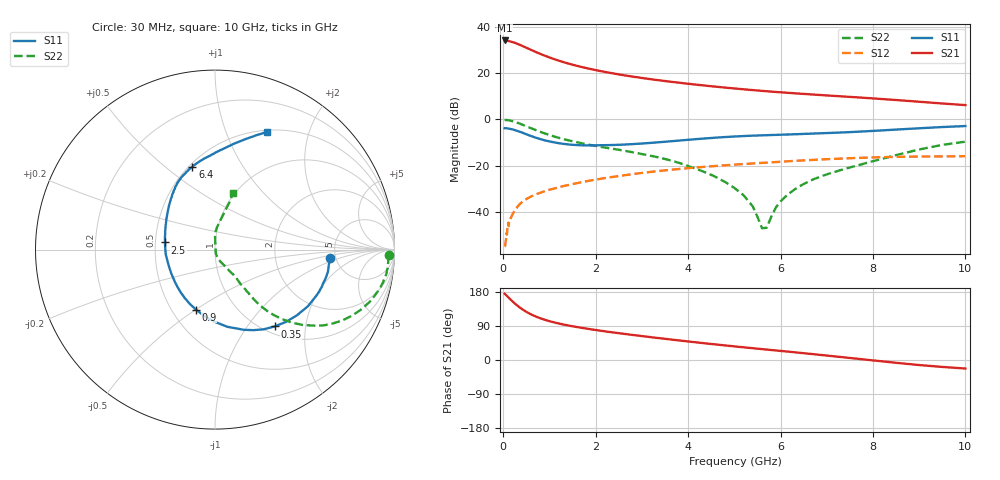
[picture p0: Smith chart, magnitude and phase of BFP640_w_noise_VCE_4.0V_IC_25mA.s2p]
! (c) 2013  Infineon Technologies AG, Munich
! Infineon Technologies  Discrete & RF Semiconductors
! BFP640
! VCE =  4.0 V,  IC =  25 mA
! Common Emitter S-Parameters:  Apr 2013
# GHz  S  MA  R  50
!  f  S11  S21  S12  S22
! GHz  MAG  ANG  MAG  ANG  MAG  ANG  MAG  ANG
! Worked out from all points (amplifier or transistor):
!   99 points, 30 MHz to 10 GHz, reference 50 ohm
!   highest |S21| = 34.1 dB at 30 MHz (marker M1)
!   |S21| within 3 dB of that: start of sweep to 483.9 MHz
!   unconditionally stable (mu >= 1): 2.439 GHz to end of sweep
!   at 350 MHz: K = 0.36, MSG = 34.6 dB, |S12| = -36.8 dB
!   at 3.5 GHz: K = 1.05, MAG = 18.0 dB, |S12| = -22.1 dB
!   at 10 GHz: K = 1.07, MAG = 9.5 dB, |S12| = -16.0 dB
!   lowest NFmin = 0.95 dB at 450 MHz
!   S11 on the Smith chart (normalised r, x): 30 MHz: 4.49, -0.72; 350 MHz: 1.12, -1.36; 900 MHz: 0.66, -0.50; 2.5 GHz: 0.56, +0.05; 6.4 GHz: 0.52, +0.62; 10 GHz: 0.52, +1.40
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0.03  0.6439 -4.2  50.95 174.9  0.0018 55.1  0.9681 -1.9
0.05  0.6396 -7.7  50.9 172.8  0.0022 66.1  0.9676 -4.2
0.11  0.6308 -17.4  49.69 165.4  0.0058 78.8  0.9563 -10.0
0.2  0.6065 -31.3  46.99 154.8  0.0087 76.2  0.9144 -18.1
0.25  0.5852 -38.7  45.38 149.2  0.0109 72.1  0.8829 -22.0
0.35  0.5423 -52.1  41.31 139.4  0.0144 67.8  0.814 -28.9
0.45  0.4973 -64.5  37.35 130.8  0.0176 65.7  0.7424 -34.6
0.6  0.4359 -80.8  31.91 120.5  0.0213 63.1  0.6442 -40.7
0.7  0.4019 -90.4  28.81 115.0  0.0237 62.2  0.5877 -43.7
0.8  0.3749 -99.2  26.11 110.2  0.0257 60.6  0.5382 -46.0
0.9  0.3506 -107.6  23.85 106.0  0.028 59.7  0.4948 -47.9
1.2  0.305 -128.9  18.63 96.3  0.0339 58.1  0.3982 -51.1
1.4  0.2871 -141.1  16.22 91.3  0.0377 57.1  0.3537 -52.0
1.7  0.2742 -156.9  13.56 84.8  0.0436 55.8  0.3034 -52.3
2.5  0.2813 171.9  9.388 70.8  0.0593 51.2  0.2195 -53.3
3.4  0.3216 147.1  6.946 57.3  0.0767 44.6  0.1466 -55.8
5.1  0.43 118.4  4.563 34.7  0.1062 30.6  0.0274 -76.8
5.6  0.451 113.0  4.131 28.7  0.1142 26.5  0.0044 -39.1
6.4  0.4788 105.3  3.608 19.2  0.1277 19.7  0.0349 86.7
6.7  0.492 101.9  3.446 15.5  0.1324 17.0  0.0498 88.2
8.5  0.6003 79.7  2.619 -7.4  0.1543 -0.8  0.168 79.4
10  0.7161 66.2  2.034 -22.5  0.159 -12.7  0.3289 72.4
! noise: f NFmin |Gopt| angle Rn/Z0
0.45  0.95  0.16  -171  0.01
0.9  0.96  0.18  -158  0.02
1.5  0.98  0.19  -144  0.04
1.9  1  0.21  -136  0.05
2.4  1.03  0.24  -121  0.06
3.5  1.15  0.26  -104  0.1
5.5  1.35  0.29  -94  0.17
10  1.83  0.59  -53  0.52
